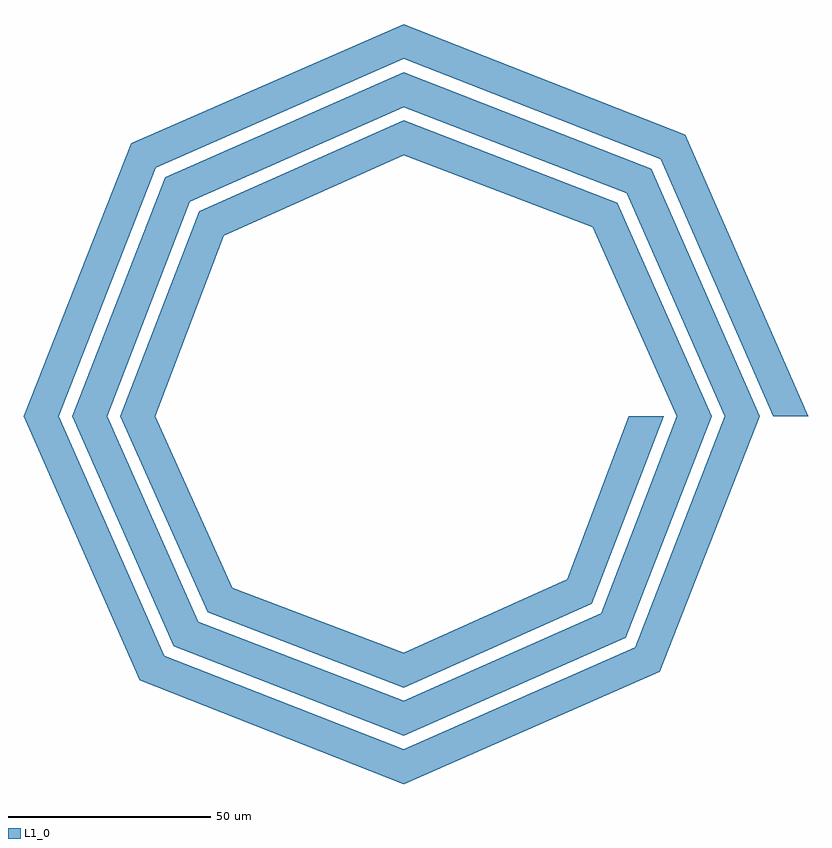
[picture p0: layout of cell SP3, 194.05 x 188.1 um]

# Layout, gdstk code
import gdstk
lib = gdstk.Library(unit=1e-6, precision=1e-09)
def P(c, l, *ps):  # polygons
    for p in ps: c.add(gdstk.Polygon(p, *l))
L1_0 = (1, 0)

sp3 = lib.new_cell('SP3')
P(sp3, L1_0, [(388.36,294.04),(360.55,357.58),(366.68,363.7),(397.02,294.04)],
  [(360.55,357.58),(297.02,382.41),(297.02,391.07),(366.68,363.7)],
  [(235.59,355.47),(229.46,361.6),(297.02,391.07),(297.02,382.41)],
  [(202.97,294.04),(229.46,361.6),(235.59,355.47),(211.63,294.04)],
  [(231.57,228.59),(202.97,294.04),(211.63,294.04),(237.69,234.72)],
  [(297.02,202.97),(231.57,228.59),(237.69,234.72),(297.02,211.63)],
  [(297.02,202.97),(297.02,211.63),(354.24,236.82),(360.36,230.7)],
  [(360.36,230.7),(354.24,236.82),(376.45,294.04),(385.11,294.04)],
  [(376.45,294.04),(352.13,349.16),(358.26,355.28),(385.11,294.04)],
  [(352.13,349.16),(297.02,370.5),(297.02,379.16),(358.26,355.28)],
  [(244.01,347.05),(237.88,353.18),(297.02,379.16),(297.02,370.5)],
  [(214.88,294.04),(237.88,353.18),(244.01,347.05),(223.54,294.04)],
  [(239.99,237.01),(214.88,294.04),(223.54,294.04),(246.11,243.14)],
  [(297.02,214.88),(239.99,237.01),(246.11,243.14),(297.02,223.54)],
  [(297.02,214.88),(297.02,223.54),(345.82,245.24),(351.94,239.12)],
  [(351.94,239.12),(345.82,245.24),(364.55,294.04),(373.21,294.04)],
  [(364.55,294.04),(343.72,340.74),(349.84,346.86),(373.21,294.04)],
  [(343.72,340.74),(297.02,358.59),(297.02,367.25),(349.84,346.86)],
  [(252.43,338.63),(246.3,344.76),(297.02,367.25),(297.02,358.59)],
  [(226.78,294.04),(246.3,344.76),(252.43,338.63),(235.44,294.04)],
  [(248.41,245.43),(226.78,294.04),(235.44,294.04),(254.53,251.55)],
  [(297.02,226.78),(248.41,245.43),(254.53,251.55),(297.02,235.44)],
  [(297.02,226.78),(297.02,235.44),(337.4,253.66),(343.52,247.54)],
  [(343.52,247.54),(337.4,253.66),(352.64,294.04),(361.3,294.04)])

lib.write_gds('SP3.gds')
